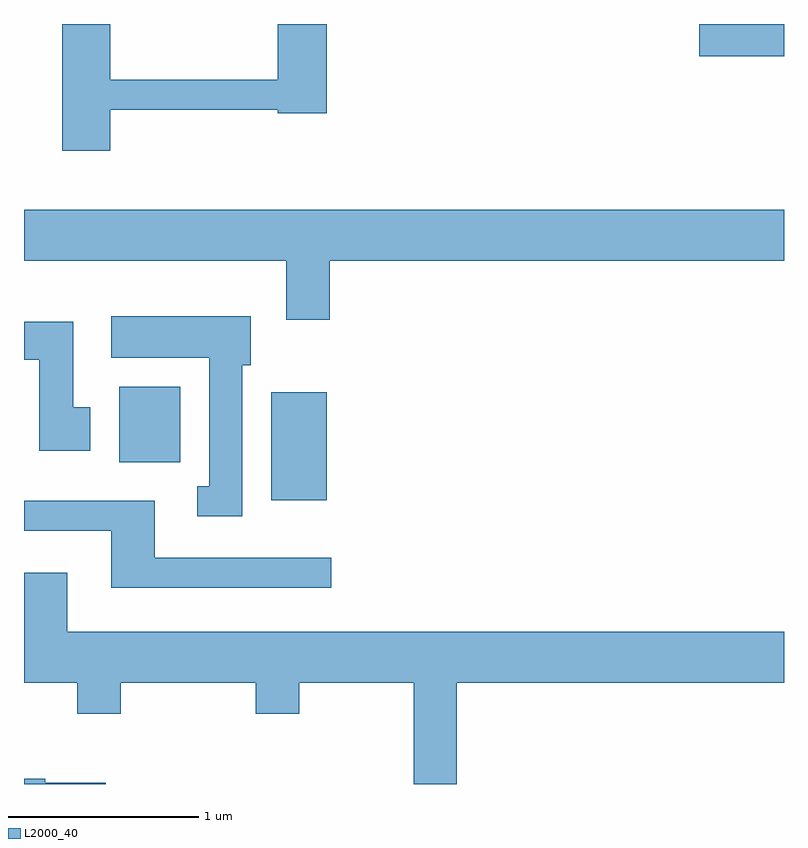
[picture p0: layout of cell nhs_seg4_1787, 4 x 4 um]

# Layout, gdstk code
import gdstk
lib = gdstk.Library(unit=1e-6, precision=1e-09)
def R(c, l, rs):  # rectangles x0, y0, x1, y1
    for r in rs: c.add(gdstk.rectangle(r[:2], r[2:], *l))
def P(c, l, *ps):  # polygons
    for p in ps: c.add(gdstk.Polygon(p, *l))
L2000_40 = (2000, 40)

nhs_seg4_1787 = lib.new_cell('nhs_seg4_1787')
R(nhs_seg4_1787, L2000_40, [(238.911,1293.476,239.204,1294.044), (238.111,1293.676,238.434,1294.074), (241.166,1295.811,241.611,1295.982)])
P(nhs_seg4_1787, L2000_40, [(238.064,1295.531),(238.946,1295.531),(238.946,1295.511),(239.204,1295.511),(239.204,1295.982),(238.946,1295.982),(238.946,1295.689),(238.064,1295.689),(238.064,1295.982),(237.811,1295.982),(237.811,1295.316),(238.064,1295.316)],
  [(239.219,1294.736),(241.611,1294.736),(241.611,1295.004),(237.611,1295.004),(237.611,1294.736),(238.991,1294.736),(238.991,1294.426),(239.219,1294.426)],
  [(238.759,1294.186),(238.804,1294.186),(238.804,1294.444),(238.071,1294.444),(238.071,1294.226),(238.586,1294.226),(238.586,1293.549),(238.523,1293.549),(238.523,1293.391),(238.759,1293.391)],
  [(237.959,1293.964),(237.869,1293.964),(237.869,1294.414),(237.611,1294.414),(237.611,1294.216),(237.691,1294.216),(237.691,1293.736),(237.959,1293.736)],
  [(239.228,1293.174),(238.299,1293.174),(238.299,1293.474),(237.611,1293.474),(237.611,1293.316),(238.071,1293.316),(238.071,1293.016),(239.228,1293.016)],
  [(239.889,1292.516),(241.611,1292.516),(241.611,1292.784),(237.839,1292.784),(237.839,1293.094),(237.611,1293.094),(237.611,1292.516),(237.891,1292.516),(237.891,1292.351),(238.119,1292.351),(238.119,1292.516),(238.831,1292.516),(238.831,1292.351),(239.059,1292.351),(239.059,1292.516),(239.661,1292.516),(239.661,1291.982),(239.889,1291.982)],
  [(238.04,1291.989),(237.724,1291.989),(237.724,1292.009),(237.611,1292.009),(237.611,1291.982),(238.04,1291.982)])

lib.write_gds('nhs_seg4_1787.gds')
